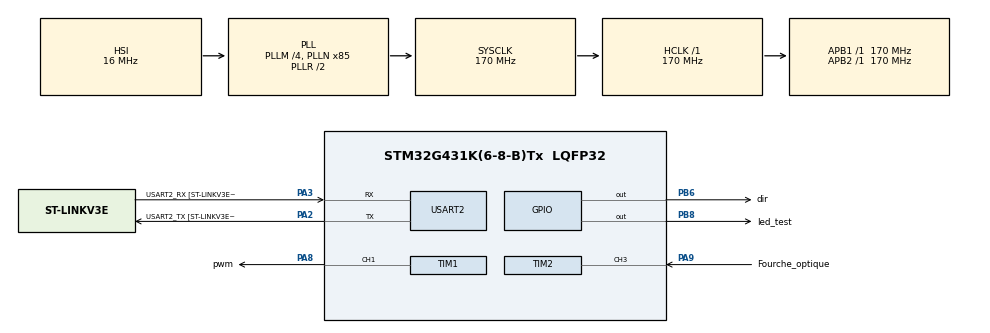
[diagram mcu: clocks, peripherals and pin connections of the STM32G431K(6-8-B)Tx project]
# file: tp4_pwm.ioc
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Mcu.Family=STM32G4
Mcu.Name=STM32G431K(6-8-B)Tx
Mcu.Package=LQFP32
NVIC.PriorityGroup=NVIC_PRIORITYGROUP_4
NVIC.TIM2_IRQn=true\:0\:0\:false\:false\:true\:true\:true\:true
NVIC.USART2_IRQn=true\:0\:0\:false\:false\:true\:true\:true\:true
PA13.GPIO_Label=T_SWDIO
PA13.Mode=Serial_Wire
PA13.Signal=SYS_JTMS-SWDIO
PA14.GPIO_Label=T_SWCLK
PA14.Mode=Serial_Wire
PA14.Signal=SYS_JTCK-SWCLK
PA2.GPIO_Label=USART2_TX [ST-LINKV3E_VCP_RX]
PA2.Mode=Asynchronous
PA2.Signal=USART2_TX
PA3.GPIO_Label=USART2_RX [ST-LINKV3E_VCP_TX]
PA3.Mode=Asynchronous
PA3.Signal=USART2_RX
PA8.GPIO_Label=pwm
PA8.GPIO_PuPd=GPIO_PULLDOWN
PA8.Signal=S_TIM1_CH1
PA9.GPIO_Label=Fourche_optique
PA9.Signal=S_TIM2_CH3
PB6.GPIO_Label=dir
PB6.GPIO_PuPd=GPIO_NOPULL
PB6.Signal=GPIO_Output
PB8-BOOT0.GPIO_Label=led_test
PB8-BOOT0.GPIO_PuPd=GPIO_PULLUP
PB8-BOOT0.Signal=GPIO_Output
ProjectManager.HeapSize=0x200
ProjectManager.StackSize=0x400
ProjectManager.TargetToolchain=STM32CubeIDE
RCC.ADC12Freq_Value=170000000
RCC.AHBFreq_Value=170000000
RCC.APB1Freq_Value=170000000
RCC.APB1TimFreq_Value=170000000
RCC.APB2Freq_Value=170000000
RCC.APB2TimFreq_Value=170000000
RCC.CortexFreq_Value=170000000
RCC.EXTERNAL_CLOCK_VALUE=12288000
RCC.HCLKFreq_Value=170000000
RCC.HSE_VALUE=8000000
RCC.HSI48_VALUE=48000000
RCC.HSI_VALUE=16000000
RCC.LSE_VALUE=32768
RCC.PLLM=RCC_PLLM_DIV4
RCC.PLLN=85
RCC.SYSCLKFreq_VALUE=170000000
RCC.SYSCLKSource=RCC_SYSCLKSOURCE_PLLCLK
RCC.USBFreq_Value=170000000
RCC.VCOOutputFreq_Value=340000000
SH.S_TIM1_CH1.0=TIM1_CH1,PWM Generation1 CH1
SH.S_TIM2_CH3.0=TIM2_CH3,Input_Capture3_from_TI3
TIM1.Channel-PWM\ Generation1\ CH1=TIM_CHANNEL_1
TIM1.PeriodNoDither=400
TIM1.Prescaler=170
TIM1.PulseNoDither_1=100
TIM2.Channel-Input_Capture3_from_TI3=TIM_CHANNEL_3
TIM2.PeriodNoDither=170000000-1
USART2.VirtualMode-Asynchronous=VM_ASYNC
USART2.WordLength=WORDLENGTH_8B
VP_SYS_VS_DBSignals.Mode=DisableDeadBatterySignals
VP_TIM1_VS_ClockSourceINT.Mode=Internal
VP_TIM2_VS_ClockSourceINT.Mode=Internal
board=NUCLEO-G431KB

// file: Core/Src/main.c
/* USER CODE BEGIN Header */
/**
  ******************************************************************************
  * @file           : main.c
  * @brief          : Main program body
  ******************************************************************************
  * @attention
  *
  * Copyright (c) 2024 STMicroelectronics.
  * All rights reserved.
  *
  * This software is licensed under terms that can be found in the LICENSE file
  * in the root directory of this software component.
  * If no LICENSE file comes with this software, it is provided AS-IS.
  *
  ******************************************************************************
  */
/* USER CODE END Header */
#include "main.h"
#include "tim.h"
#include "usart.h"
#include "gpio.h"

/* USER CODE BEGIN Includes */
#include "pwm_api.h"
#include "herculex.h"
#include <stdio.h>
/* USER CODE END Includes */

/* USER CODE BEGIN PTD */
#define avancer 0
#define reculer 1
#define TIM_CLOCK 170000000
#define PRESCALAR 1
#define ARR 170000000-1

/* USER CODE END PTD */

/* USER CODE BEGIN PV */
#define PUTCHAR_PROTOTYPE int __io_putchar(int ch)
PUTCHAR_PROTOTYPE
{
	HAL_UART_Transmit(&huart2, (uint8_t*)&ch, 1, HAL_MAX_DELAY);

	return ch;
}
/* USER CODE END PV */

void SystemClock_Config(void);

/* USER CODE BEGIN 0 */
float CK_CNT = TIM_CLOCK/(PRESCALAR);
uint32_t IC_Val1 = 0, IC_Val2 = 0;
uint32_t Difference = 0;
char First_rising;
float Frecuency = 0;
float m_per_sec = 0;
void HAL_TIM_IC_CaptureCallback(TIM_HandleTypeDef *htim)
{
	if(htim->Channel == HAL_TIM_ACTIVE_CHANNEL_3)
	{
		if(First_rising == 1)
		{
			IC_Val1 = HAL_TIM_ReadCapturedValue(htim, TIM_CHANNEL_3);
			First_rising = 0;
		}
		else
		{
			IC_Val2 = HAL_TIM_ReadCapturedValue(htim, TIM_CHANNEL_3);
			if(IC_Val2 > IC_Val1)
			{
				Difference = IC_Val2 - IC_Val1;
			}
			else if (IC_Val1 > IC_Val2)
			{
				Difference = ( ARR - IC_Val1) + IC_Val2;
			}

			Frecuency = CK_CNT/Difference;
			m_per_sec = 4.9375*0.001*Frecuency;

			__HAL_TIM_SET_COUNTER(htim, 0);
			First_rising = 1;
		}
	}
}
/* USER CODE END 0 */

int main(void)
{

  /* MCU Configuration--------------------------------------------------------*/

  /* Reset of all peripherals, Initializes the Flash interface and the Systick. */
  HAL_Init();

  /* Configure the system clock */
  SystemClock_Config();

  /* Initialize all configured peripherals */
  MX_GPIO_Init();
  MX_USART2_UART_Init();
  MX_TIM1_Init();
  MX_TIM2_Init();
  /* USER CODE BEGIN 2 */
  HAL_TIM_PWM_Start(&htim1,TIM_CHANNEL_1);
  HAL_TIM_IC_Start_IT(&htim2,TIM_CHANNEL_3);

  /* USER CODE END 2 */

  /* Infinite loop */
  /* USER CODE BEGIN WHILE */
  while (1)
  {
	  //printf("Frequence(Hz): %f Vitesse(M/S): %f\n", Frecuency, m_per_sec);
	  printf(">Frequence:%f\n", Frecuency);
	  printf(">Vitesse: %f\n", m_per_sec);
    /* USER CODE END WHILE */

  }
}

void SystemClock_Config(void)
{
  RCC_OscInitTypeDef RCC_OscInitStruct = {0};
  RCC_ClkInitTypeDef RCC_ClkInitStruct = {0};

  /** Configure the main internal regulator output voltage
  */
  HAL_PWREx_ControlVoltageScaling(PWR_REGULATOR_VOLTAGE_SCALE1_BOOST);

  /** Initializes the RCC Oscillators according to the specified parameters
  * in the RCC_OscInitTypeDef structure.
  */
  RCC_OscInitStruct.OscillatorType = RCC_OSCILLATORTYPE_HSI;
  RCC_OscInitStruct.HSIState = RCC_HSI_ON;
  RCC_OscInitStruct.HSICalibrationValue = RCC_HSICALIBRATION_DEFAULT;
  RCC_OscInitStruct.PLL.PLLState = RCC_PLL_ON;
  RCC_OscInitStruct.PLL.PLLSource = RCC_PLLSOURCE_HSI;
  RCC_OscInitStruct.PLL.PLLM = RCC_PLLM_DIV4;
  RCC_OscInitStruct.PLL.PLLN = 85;
  RCC_OscInitStruct.PLL.PLLP = RCC_PLLP_DIV2;
  RCC_OscInitStruct.PLL.PLLQ = RCC_PLLQ_DIV2;
  RCC_OscInitStruct.PLL.PLLR = RCC_PLLR_DIV2;
  if (HAL_RCC_OscConfig(&RCC_OscInitStruct) != HAL_OK)
  {
    Error_Handler();
  }

  /** Initializes the CPU, AHB and APB buses clocks
  */
  RCC_ClkInitStruct.ClockType = RCC_CLOCKTYPE_HCLK|RCC_CLOCKTYPE_SYSCLK
                              |RCC_CLOCKTYPE_PCLK1|RCC_CLOCKTYPE_PCLK2;
  RCC_ClkInitStruct.SYSCLKSource = RCC_SYSCLKSOURCE_PLLCLK;
  RCC_ClkInitStruct.AHBCLKDivider = RCC_SYSCLK_DIV1;
  RCC_ClkInitStruct.APB1CLKDivider = RCC_HCLK_DIV1;
  RCC_ClkInitStruct.APB2CLKDivider = RCC_HCLK_DIV1;

  if (HAL_RCC_ClockConfig(&RCC_ClkInitStruct, FLASH_LATENCY_4) != HAL_OK)
  {
    Error_Handler();
  }
}

void Error_Handler(void)
{
  __disable_irq();
  while (1)
  {
  }
}
